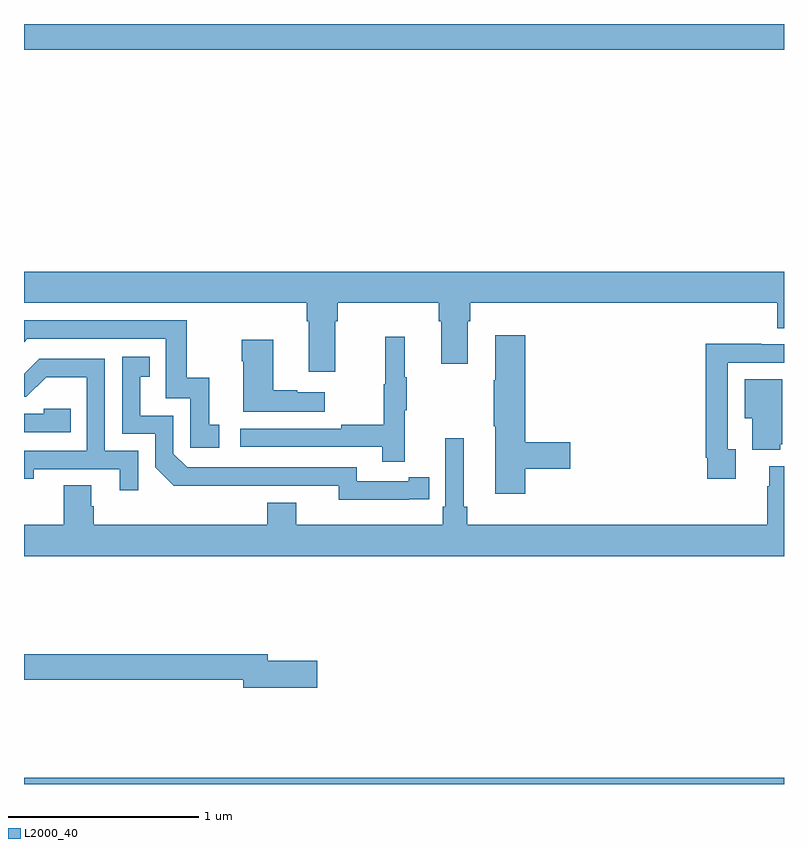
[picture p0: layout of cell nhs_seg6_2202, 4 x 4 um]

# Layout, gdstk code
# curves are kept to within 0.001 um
import gdstk
lib = gdstk.Library(unit=1e-6, precision=1e-09)
def R(c, l, rs):  # rectangles x0, y0, x1, y1
    for r in rs: c.add(gdstk.rectangle(r[:2], r[2:], *l))
def P(c, l, *ps):  # polygons
    for p in ps: c.add(gdstk.Polygon(p, *l))
L2000_40 = (2000, 40)

nhs_seg6_2202 = lib.new_cell('nhs_seg6_2202')
R(nhs_seg6_2202, L2000_40, [(243,915.5,247,915.532), (243,919.364,247,919.5)])
P(nhs_seg6_2202, L2000_40, [(244.639,917.936),(244.652,917.936),(244.652,918.032),(245.183,918.032),(245.183,917.936),(245.195,917.936),(245.195,917.712),(245.335,917.712),(245.335,917.936),(245.348,917.936),(245.348,918.032),(246.965,918.032),(246.965,917.899),(247,917.899),(247,918.196),(243,918.196),(243,918.032),(244.487,918.032),(244.487,917.936),(244.499,917.936),(244.499,917.67),(244.639,917.67)],
  [(244.027,917.391),(243.974,917.391),(243.974,917.638),(243.856,917.638),(243.856,917.94),(243,917.94),(243,917.826),(243.018,917.844),(243.747,917.844),(243.747,917.529),(243.876,917.529),(243.876,917.271),(244.027,917.271)],
  [(245.639,917.158),(245.875,917.158),(245.875,917.3),(245.639,917.3),(245.639,917.863),(245.48,917.863),(245.48,917.624),(245.473,917.624),(245.473,917.383),(245.48,917.383),(245.48,917.028),(245.639,917.028)],
  [(245.003,917.467),(245.014,917.467),(245.014,917.641),(245.003,917.641),(245.003,917.854),(244.9,917.854),(244.9,917.604),(244.893,917.604),(244.893,917.39),(244.669,917.39),(244.669,917.37),(244.137,917.37),(244.137,917.274),(244.885,917.274),(244.885,917.196),(245.003,917.196)],
  [(244.582,917.563),(244.439,917.563),(244.439,917.573),(244.312,917.573),(244.312,917.839),(244.147,917.839),(244.147,917.726),(244.154,917.726),(244.154,917.459),(244.582,917.459)],
  [(246.745,917.262),(246.705,917.262),(246.705,917.718),(247,917.718),(247,917.814),(246.881,917.814),(246.881,917.816),(246.589,917.816),(246.589,917.218),(246.597,917.218),(246.597,917.106),(246.745,917.106)],
  [(245.024,916.998),(245.132,916.998),(245.132,917.114),(245.024,917.114),(245.024,917.094),(244.752,917.094),(244.752,917.166),(243.858,917.166),(243.786,917.238),(243.786,917.439),(243.613,917.439),(243.613,917.643),(243.662,917.643),(243.662,917.749),(243.516,917.749),(243.516,917.343),(243.69,917.343),(243.69,917.166),(243.788,917.069),(244.656,917.07),(244.656,916.997)],
  [(243.6,917.253),(243.426,917.253),(243.426,917.739),(243.08,917.739),(243,917.659),(243,917.538),(243.012,917.538),(243.116,917.642),(243.33,917.642),(243.33,917.253),(243,917.253),(243,917.106),(243.052,917.106),(243.052,917.157),(243.503,917.157),(243.503,917.046),(243.6,917.046)],
  [(246.98,917.289),(246.991,917.289),(246.991,917.629),(246.794,917.629),(246.794,917.426),(246.833,917.426),(246.833,917.258),(246.98,917.258)],
  [(243.245,917.475),(243.105,917.475),(243.105,917.448),(243,917.448),(243,917.352),(243.245,917.352)],
  [(247,917.173),(246.923,917.173),(246.923,917.066),(246.911,917.066),(246.911,916.864),(245.333,916.864),(245.333,916.96),(245.314,916.96),(245.314,917.32),(245.217,917.32),(245.217,916.96),(245.204,916.96),(245.204,916.864),(244.432,916.864),(244.432,916.981),(244.28,916.981),(244.28,916.864),(243.368,916.864),(243.368,916.962),(243.355,916.962),(243.355,917.072),(243.208,917.072),(243.208,916.864),(243,916.864),(243,916.7),(247,916.7)],
  [(244.543,916.148),(244.282,916.148),(244.282,916.184),(243,916.184),(243,916.048),(244.154,916.048),(244.154,916.006),(244.543,916.006)])

lib.write_gds('nhs_seg6_2202.gds')
